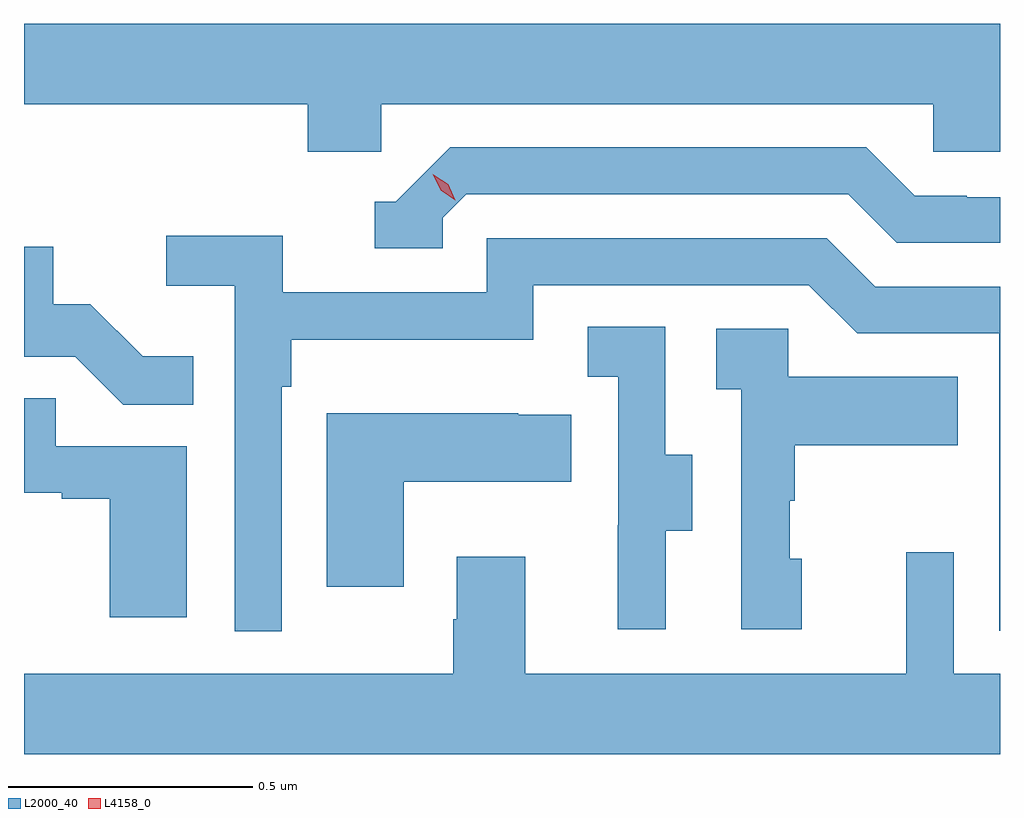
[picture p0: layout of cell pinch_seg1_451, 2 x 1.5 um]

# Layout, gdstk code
import gdstk
lib = gdstk.Library(unit=1e-6, precision=1e-09)
def P(c, l, *ps):  # polygons
    for p in ps: c.add(gdstk.Polygon(p, *l))
L2000_40 = (2000, 40)
L4158_0 = (4158, 0)

pinch_seg1_451 = lib.new_cell('pinch_seg1_451')
P(pinch_seg1_451, L2000_40, [(969.762,517.1),(970.893,517.1),(970.893,517.002),(971.03,517.002),(971.03,517.264),(969.03,517.264),(969.03,517.1),(969.611,517.1),(969.611,517.002),(969.762,517.002)],
  [(969.888,516.867),(969.936,516.915),(970.719,516.915),(970.818,516.816),(971.03,516.816),(971.03,516.909),(970.962,516.909),(970.962,516.912),(970.855,516.912),(970.756,517.011),(969.903,517.011),(969.792,516.9),(969.749,516.9),(969.749,516.804),(969.888,516.804)],
  [(969.558,516.521),(969.578,516.521),(969.578,516.617),(970.074,516.617),(970.074,516.729),(970.638,516.729),(970.737,516.63),(971.028,516.63),(971.028,516.021),(971.03,516.021),(971.03,516.726),(970.774,516.726),(970.675,516.825),(969.978,516.825),(969.978,516.714),(969.56,516.714),(969.56,516.83),(969.321,516.83),(969.321,516.728),(969.462,516.728),(969.462,516.02),(969.558,516.02)],
  [(969.377,516.583),(969.273,516.583),(969.166,516.69),(969.09,516.69),(969.09,516.807),(969.03,516.807),(969.03,516.582),(969.135,516.582),(969.233,516.484),(969.377,516.484)],
  [(970.345,516.226),(970.399,516.226),(970.399,516.381),(970.344,516.381),(970.344,516.644),(970.185,516.644),(970.185,516.541),(970.248,516.541),(970.248,516.237),(970.247,516.237),(970.247,516.024),(970.345,516.024)],
  [(970.624,516.168),(970.599,516.168),(970.599,516.287),(970.609,516.287),(970.609,516.401),(970.943,516.401),(970.943,516.541),(970.596,516.541),(970.596,516.639),(970.449,516.639),(970.449,516.515),(970.5,516.515),(970.5,516.024),(970.624,516.024)],
  [(969.364,516.399),(969.095,516.399),(969.095,516.497),(969.03,516.497),(969.03,516.303),(969.107,516.303),(969.107,516.291),(969.206,516.291),(969.206,516.048),(969.364,516.048)],
  [(969.808,516.326),(970.151,516.326),(970.151,516.463),(970.043,516.463),(970.043,516.466),(969.65,516.466),(969.65,516.111),(969.808,516.111)],
  [(971.03,515.932),(970.935,515.932),(970.935,516.181),(970.838,516.181),(970.838,515.932),(970.057,515.932),(970.057,516.172),(969.917,516.172),(969.917,516.044),(969.91,516.044),(969.91,515.932),(969.03,515.932),(969.03,515.768),(971.03,515.768)])
P(pinch_seg1_451, L4158_0, [(969.914,516.903),(969.884,516.923),(969.868,516.956),(969.868,516.956),(969.868,516.956),(969.899,516.936),(969.914,516.903),(969.914,516.903)])

lib.write_gds('pinch_seg1_451.gds')
